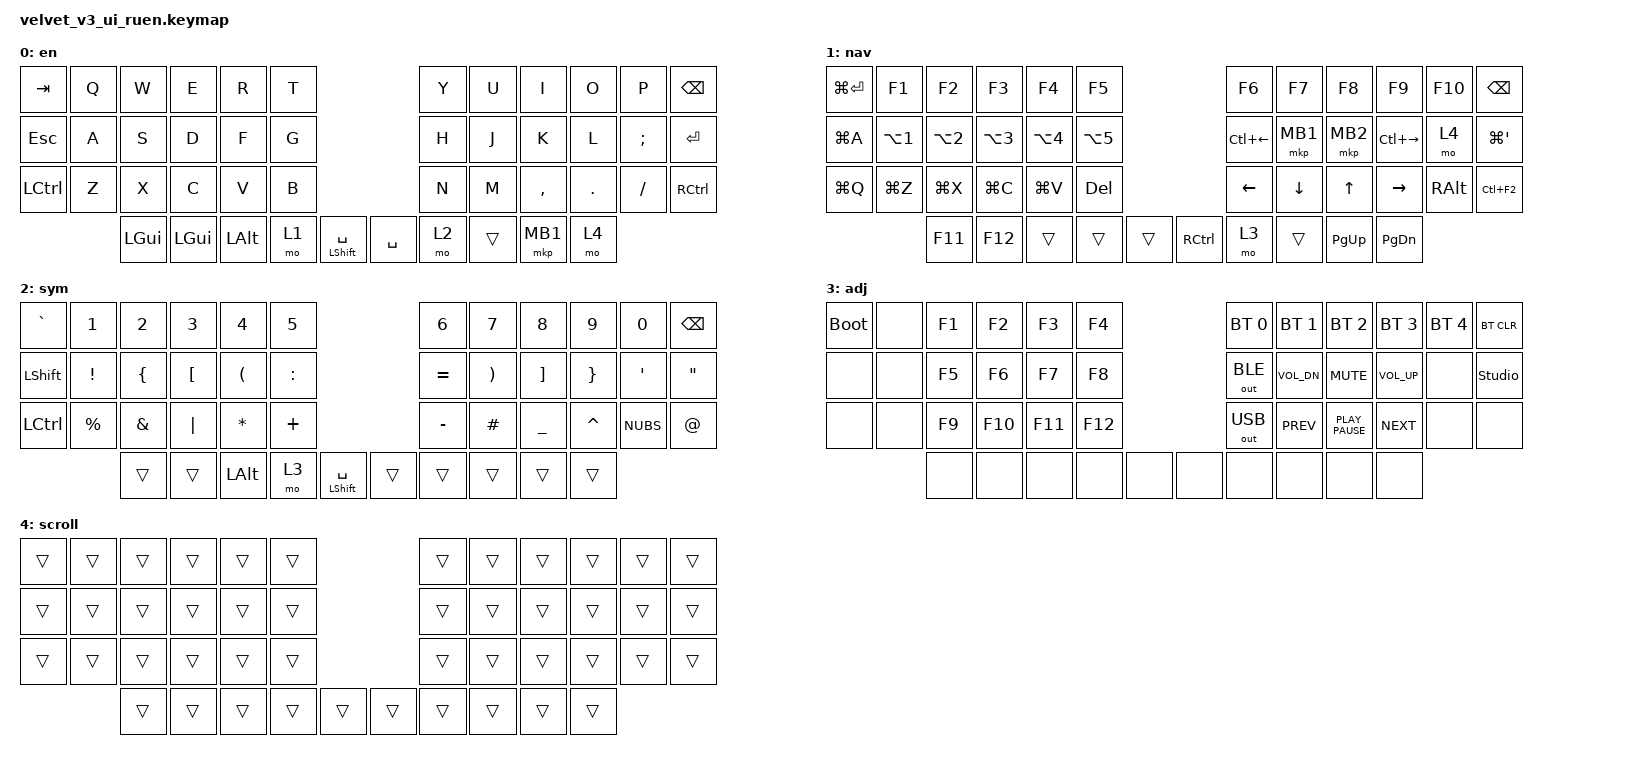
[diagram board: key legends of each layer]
#include "keys_ru.h"
#include <dt-bindings/zmk/input_transform.h>
#include <input/processors.dtsi>
#include <zephyr/dt-bindings/input/input-event-codes.h>
#include <behaviors.dtsi>
#include <dt-bindings/zmk/bt.h>
#include <dt-bindings/zmk/keys.h>
#include <dt-bindings/zmk/outputs.h>
#include <dt-bindings/zmk/pointing.h>

/ {
    behaviors {
        cap_sen: cap_sen {
            compatible = "zmk,behavior-hold-tap";
            label = "CAP_SEN";
            bindings = <&mo>, <&mkp>;

            #binding-cells = <2>;
            tapping-term-ms = <150>;
            hold-while-undecided;
        };
    };

    combos { compatible = "zmk,combos"; };

    keymap {
        compatible = "zmk,keymap";

        en {
            bindings = <
&kp TAB           &kp Q  &kp W         &kp E         &kp R         &kp T                                     &kp Y  &kp U   &kp I      &kp O    &kp P      &kp BSPC
&kp ESCAPE        &kp A  &kp S         &kp D         &kp F         &kp G                                     &kp H  &kp J   &kp K      &kp L    &kp SEMI   &kp RETURN
&kp LEFT_CONTROL  &kp Z  &kp X         &kp C         &kp V         &kp B                                     &kp N  &kp M   &kp COMMA  &kp DOT  &kp SLASH  &kp RIGHT_CONTROL
                         &kp LEFT_GUI  &kp LEFT_GUI  &kp LEFT_ALT  &mo 1  &mt LEFT_SHIFT SPACE    &kp SPACE  &mo 2  &trans  &mkp MB1   &mo 4
            >;

            display-name = "en";
        };

        nav {
            bindings = <
&kp LG(RETURN)  &kp F1      &kp F2      &kp F3      &kp F4      &kp F5                                   &kp F6          &kp F7          &kp F8        &kp F9           &kp F10   &kp BACKSPACE
&kp LG(A)       &kp LA(N1)  &kp LA(N2)  &kp LA(N3)  &kp LA(N4)  &kp LA(N5)                               &kp LC(LEFT)    &mkp MB1        &mkp MB2      &kp LC(RIGHT)    &mo 4     &kp LG(SQT)
&kp LG(Q)       &kp LG(Z)   &kp LG(X)   &kp LG(C)   &kp LG(V)   &kp DEL                                  &kp LEFT_ARROW  &kp DOWN_ARROW  &kp UP_ARROW  &kp RIGHT_ARROW  &kp RALT  &kp LC(F2)
                            &kp F11     &kp F12     &trans      &trans      &trans    &kp RIGHT_CONTROL  &mo 3           &trans          &kp PAGE_UP   &kp PAGE_DOWN
            >;

            display-name = "nav";
        };

        sym {
            bindings = <
&kp GRAVE         &kp N1       &kp NUMBER_2    &kp NUMBER_3      &kp NUMBER_4  &kp NUMBER_5                                  &kp N6     &kp NUMBER_7  &kp NUMBER_8       &kp NUMBER_9  &kp NUMBER_0  &kp BACKSPACE
&kp LEFT_SHIFT    &kp EXCL     &kp LEFT_BRACE  &kp LEFT_BRACKET  &kp LPAR      &kp COLON                                     &kp EQUAL  &kp RPAR      &kp RIGHT_BRACKET  &kp RBRC      &kp SQT       &kp DQT
&kp LEFT_CONTROL  &kp PERCENT  &kp AMPERSAND   &kp PIPE          &kp ASTRK     &kp PLUS                                      &kp MINUS  &kp HASH      &kp UNDERSCORE     &kp CARET     &kp NUBS      &kp AT
                               &trans          &trans            &kp LEFT_ALT  &mo 3         &mt LEFT_SHIFT SPACE    &trans  &trans     &trans        &trans             &trans
            >;

            display-name = "sym";
        };

        adj {
            bindings = <
&bootloader  &none  &kp F1  &kp F2   &kp F3   &kp F4                   &bt BT_SEL 0  &bt BT_SEL 1  &bt BT_SEL 2      &bt BT_SEL 3  &bt BT_SEL 4  &bt BT_CLR
&none        &none  &kp F5  &kp F6   &kp F7   &kp F8                   &out OUT_BLE  &kp C_VOL_DN  &kp K_MUTE        &kp C_VOL_UP  &none         &studio_unlock
&none        &none  &kp F9  &kp F10  &kp F11  &kp F12                  &out OUT_USB  &kp K_PREV    &kp K_PLAY_PAUSE  &kp K_NEXT    &none         &none
                    &none   &none    &none    &none    &none    &none  &none         &none         &none             &none
            >;

            display-name = "adj";
        };

        scroll {
            bindings = <
&trans  &trans  &trans  &trans  &trans  &trans                    &trans  &trans  &trans  &trans  &trans  &trans
&trans  &trans  &trans  &trans  &trans  &trans                    &trans  &trans  &trans  &trans  &trans  &trans
&trans  &trans  &trans  &trans  &trans  &trans                    &trans  &trans  &trans  &trans  &trans  &trans
                &trans  &trans  &trans  &trans  &trans    &trans  &trans  &trans  &trans  &trans
            >;
        };
    };
};

&trackball { cpi = <1000>; };

&trackball_listener {
    input-processors = <&zip_xy_scaler 9 20>;

    scroller {
        layers = <7>;
        input-processors =
            <&zip_xy_transform INPUT_TRANSFORM_Y_INVERT>,
            <&zip_xy_scaler 1 32>,
            <&zip_xy_to_scroll_mapper>;
    };

    sniper {
        layers = <8>;
        input-processors = <&zip_xy_scaler 1 4>;
    };
};
